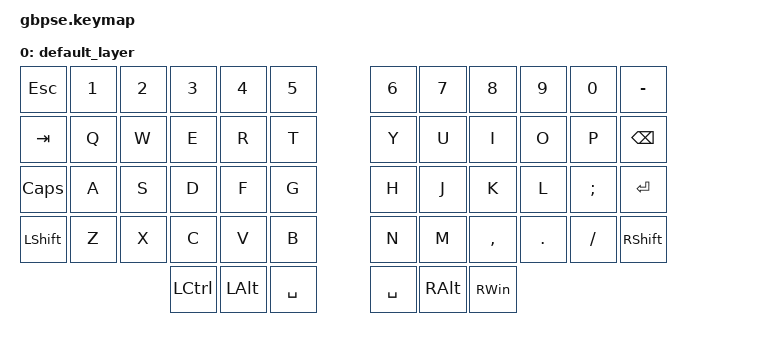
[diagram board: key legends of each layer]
#include <behaviors.dtsi>
#include <dt-bindings/zmk/keys.h>

/ {
    keymap {
        compatible = "zmk,keymap";

        default_layer {
	// --------------------------------------------------------------------------------------------------------------------------------------------------------------------
	// |   ESC   |    1    |    2    |    3    |    4    |    5    |                                          |    6    |    7    |    8    |    9    |    0    |    -    |
	// |   TAB   |    Q    |    W    |    E    |    R    |    T    |                                          |    Y    |    U    |    I    |    O    |    P    |   BKSP  |
	// |   CAPS  |    A    |    S    |    D    |    F    |    G    |                                          |    H    |    J    |    K    |    L    |    ;    |  ENTER  |
	// |  SHIFT  |    Z    |    X    |    C    |    V    |    B    |                                          |    N    |    M    |    ,    |    .    |    /    |  SHIFT  |
	//                                         |  L CTL  |   LALT  |  SPACE  |                      |  SPACE  |   RALT  |   WIN   |
            bindings = <
    		&kp ESC    &kp N1   &kp N2   &kp N3    &kp N4    &kp N5                                                &kp N6    &kp N7    &kp N8    &kp N9    &kp N0   &kp MINUS
    		&kp TAB    &kp Q    &kp W    &kp E     &kp R     &kp T                                                 &kp Y     &kp U     &kp I     &kp O     &kp P    &kp BSPC
   		&kp CAPS   &kp A    &kp S    &kp D     &kp F     &kp G                                                 &kp H     &kp J     &kp K     &kp L     &kp SEMI &kp RET
    		&kp LSHIFT &kp Z    &kp X    &kp C     &kp V     &kp B                                                 &kp N     &kp M     &kp COMMA &kp DOT   &kp FSLH &kp RSHIFT
                                           &kp LCTRL &kp LALT   &kp SPACE                        &kp SPACE &kp RALT  &kp RWIN
            >;
        };
    };
};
